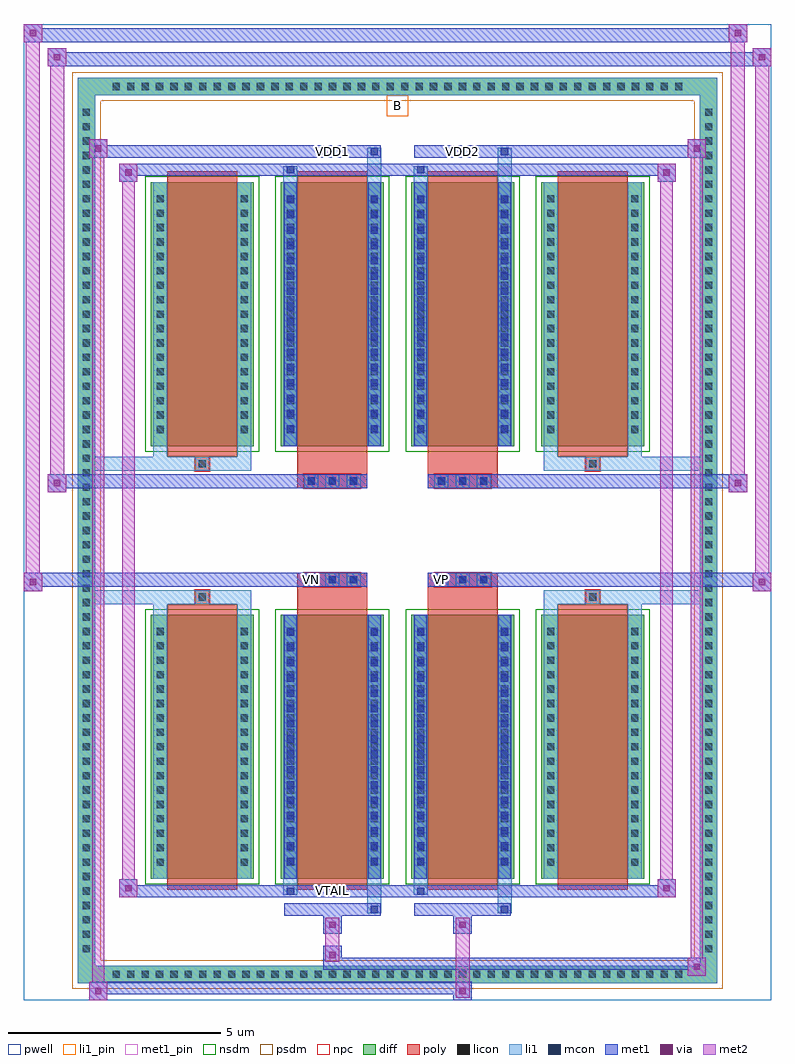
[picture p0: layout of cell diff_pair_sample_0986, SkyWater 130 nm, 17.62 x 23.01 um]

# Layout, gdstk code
import gdstk
lib = gdstk.Library(unit=1e-6, precision=5e-09)
def R(c, l, rs):  # rectangles x0, y0, x1, y1
    for r in rs: c.add(gdstk.rectangle(r[:2], r[2:], *l))
def A(c, l, x, y, w, h, nx, ny, dx, dy):  # array of equal rectangles
    R(c, l, [(x+i*dx, y+j*dy, x+i*dx+w, y+j*dy+h) for i in range(nx) for j in range(ny)])
def P(c, l, *ps):  # polygons
    for p in ps: c.add(gdstk.Polygon(p, *l))
pwell = (64, 44)
diff = (65, 20)
poly = (66, 20)
licon = (66, 44)
li1_pin = (67, 16)
li1 = (67, 20)
mcon = (67, 44)
met1_pin = (68, 16)
met1 = (68, 20)
via = (68, 44)
met2 = (69, 20)
nsdm = (93, 44)
psdm = (94, 20)
npc = (95, 20)

diff_pair_sample_0986 = lib.new_cell('diff_pair_sample_0986')
R(diff_pair_sample_0986, pwell, [(-8.81,-11.07,8.81,11.94), (-6.13,-9.26,-0.01,-0.8), (0.01,-9.26,6.13,-0.8), (-6.13,0.8,-0.01,9.26), (0.01,0.8,6.13,9.26)])
A(diff_pair_sample_0986, diff, -6.835, -10.67, 0.41, 0.41, 40, 2, 0.34, 20.93)
A(diff_pair_sample_0986, diff, -7.54, -10.065, 0.41, 0.41, 1, 59, 0, 0.34)
A(diff_pair_sample_0986, diff, 7.13, -10.065, 0.41, 0.41, 1, 59, 0, 0.34)
A(diff_pair_sample_0986, diff, -5.82, -8.215, 2.43, 6.23, 4, 2, 3.07, 10.2)
R(diff_pair_sample_0986, diff, [(-6.835,-10.67,6.835,-10.26), (-7.54,-10.065,-7.13,10.065), (7.13,-10.065,7.54,10.065), (-6.835,10.26,6.835,10.67)])
P(diff_pair_sample_0986, diff, [(7.54,10.67),(-7.54,10.67),(-7.54,-10.26),(-7.13,-10.26),(-7.13,10.26),(7.13,10.26),(7.13,-10.26),(-7.13,-10.26),(-7.54,-10.26),(-7.54,-10.67),(7.54,-10.67)])
A(diff_pair_sample_0986, poly, -5.43, -8.465, 1.65, 6.73, 4, 2, 3.07, 10.2)
A(diff_pair_sample_0986, poly, -2.2, -1.33, 0.33, 0.33, 3, 2, 0.5, 2.33)
A(diff_pair_sample_0986, poly, 0.87, -1.33, 0.33, 0.33, 3, 2, 0.5, 2.33)
R(diff_pair_sample_0986, poly, [(-4.77,-1.735,-4.44,-1.405), (-4.77,-1.735,-4.44,-1.405), (-2.36,-1.735,-0.71,-1.33), (0.71,-1.735,2.36,-1.33), (4.44,-1.735,4.77,-1.405), (4.44,-1.735,4.77,-1.405), (-2.36,-1.33,-0.71,-1), (0.71,-1.33,2.36,-1), (-2.36,1,-0.71,1.33), (0.71,1,2.36,1.33), (-2.36,1.33,-0.71,1.735), (0.71,1.33,2.36,1.735), (-4.77,1.405,-4.44,1.735), (-4.77,1.405,-4.44,1.735), (4.44,1.405,4.77,1.735), (4.44,1.405,4.77,1.735)])
A(diff_pair_sample_0986, licon, -6.715, -10.55, 0.17, 0.17, 40, 2, 0.34, 20.93)
A(diff_pair_sample_0986, licon, -7.42, -9.945, 0.17, 0.17, 1, 59, 0, 0.34)
A(diff_pair_sample_0986, licon, 7.25, -9.945, 0.17, 0.17, 1, 59, 0, 0.34)
A(diff_pair_sample_0986, licon, -5.68, -7.905, 0.17, 0.17, 1, 17, 0, 0.34)
A(diff_pair_sample_0986, licon, -3.7, -7.905, 0.17, 0.17, 1, 17, 0, 0.34)
A(diff_pair_sample_0986, licon, -2.61, -7.905, 0.17, 0.17, 1, 17, 0, 0.34)
A(diff_pair_sample_0986, licon, -0.63, -7.905, 0.17, 0.17, 1, 17, 0, 0.34)
A(diff_pair_sample_0986, licon, 0.46, -7.905, 0.17, 0.17, 1, 17, 0, 0.34)
A(diff_pair_sample_0986, licon, 2.44, -7.905, 0.17, 0.17, 1, 17, 0, 0.34)
A(diff_pair_sample_0986, licon, 3.53, -7.905, 0.17, 0.17, 1, 17, 0, 0.34)
A(diff_pair_sample_0986, licon, 5.51, -7.905, 0.17, 0.17, 1, 17, 0, 0.34)
A(diff_pair_sample_0986, licon, -2.12, -1.25, 0.17, 0.17, 3, 2, 0.5, 2.33)
A(diff_pair_sample_0986, licon, 0.95, -1.25, 0.17, 0.17, 3, 2, 0.5, 2.33)
A(diff_pair_sample_0986, licon, -5.68, 2.295, 0.17, 0.17, 1, 17, 0, 0.34)
A(diff_pair_sample_0986, licon, -3.7, 2.295, 0.17, 0.17, 1, 17, 0, 0.34)
A(diff_pair_sample_0986, licon, -2.61, 2.295, 0.17, 0.17, 1, 17, 0, 0.34)
A(diff_pair_sample_0986, licon, -0.63, 2.295, 0.17, 0.17, 1, 17, 0, 0.34)
A(diff_pair_sample_0986, licon, 0.46, 2.295, 0.17, 0.17, 1, 17, 0, 0.34)
A(diff_pair_sample_0986, licon, 2.44, 2.295, 0.17, 0.17, 1, 17, 0, 0.34)
A(diff_pair_sample_0986, licon, 3.53, 2.295, 0.17, 0.17, 1, 17, 0, 0.34)
A(diff_pair_sample_0986, licon, 5.51, 2.295, 0.17, 0.17, 1, 17, 0, 0.34)
R(diff_pair_sample_0986, licon, [(-4.69,-1.655,-4.52,-1.485), (4.52,-1.655,4.69,-1.485), (-4.69,1.485,-4.52,1.655), (4.52,1.485,4.69,1.655)])
R(diff_pair_sample_0986, li1_pin, [(-0.25,9.76,0.25,10.26)])
A(diff_pair_sample_0986, li1, -6.795, -10.63, 0.33, 0.33, 40, 2, 0.34, 20.93)
A(diff_pair_sample_0986, li1, -7.5, -10.025, 0.33, 0.33, 1, 59, 0, 0.34)
A(diff_pair_sample_0986, li1, 7.17, -10.025, 0.33, 0.33, 1, 59, 0, 0.34)
A(diff_pair_sample_0986, li1, -5.76, -7.985, 0.33, 0.33, 1, 17, 0, 0.34)
A(diff_pair_sample_0986, li1, -3.78, -7.985, 0.33, 0.33, 1, 17, 0, 0.34)
A(diff_pair_sample_0986, li1, -2.69, -7.985, 0.33, 0.33, 1, 17, 0, 0.34)
A(diff_pair_sample_0986, li1, -0.71, -7.985, 0.33, 0.33, 1, 17, 0, 0.34)
A(diff_pair_sample_0986, li1, 0.38, -7.985, 0.33, 0.33, 1, 17, 0, 0.34)
A(diff_pair_sample_0986, li1, 2.36, -7.985, 0.33, 0.33, 1, 17, 0, 0.34)
A(diff_pair_sample_0986, li1, 3.45, -7.985, 0.33, 0.33, 1, 17, 0, 0.34)
A(diff_pair_sample_0986, li1, 5.43, -7.985, 0.33, 0.33, 1, 17, 0, 0.34)
A(diff_pair_sample_0986, li1, -2.61, -7.885, 0.17, 0.17, 1, 16, 0, 0.36)
A(diff_pair_sample_0986, li1, -0.63, -7.885, 0.17, 0.17, 1, 16, 0, 0.36)
A(diff_pair_sample_0986, li1, 0.46, -7.885, 0.17, 0.17, 1, 16, 0, 0.36)
A(diff_pair_sample_0986, li1, 2.44, -7.885, 0.17, 0.17, 1, 16, 0, 0.36)
A(diff_pair_sample_0986, li1, -2.2, -1.33, 0.33, 0.33, 3, 2, 0.5, 2.33)
A(diff_pair_sample_0986, li1, 0.87, -1.33, 0.33, 0.33, 3, 2, 0.5, 2.33)
A(diff_pair_sample_0986, li1, -5.76, 2.215, 0.33, 0.33, 1, 17, 0, 0.34)
A(diff_pair_sample_0986, li1, -3.78, 2.215, 0.33, 0.33, 1, 17, 0, 0.34)
A(diff_pair_sample_0986, li1, -2.69, 2.215, 0.33, 0.33, 1, 17, 0, 0.34)
A(diff_pair_sample_0986, li1, -0.71, 2.215, 0.33, 0.33, 1, 17, 0, 0.34)
A(diff_pair_sample_0986, li1, 0.38, 2.215, 0.33, 0.33, 1, 17, 0, 0.34)
A(diff_pair_sample_0986, li1, 2.36, 2.215, 0.33, 0.33, 1, 17, 0, 0.34)
A(diff_pair_sample_0986, li1, 3.45, 2.215, 0.33, 0.33, 1, 17, 0, 0.34)
A(diff_pair_sample_0986, li1, 5.43, 2.215, 0.33, 0.33, 1, 17, 0, 0.34)
A(diff_pair_sample_0986, li1, -2.61, 2.315, 0.17, 0.17, 1, 16, 0, 0.36)
A(diff_pair_sample_0986, li1, -0.63, 2.315, 0.17, 0.17, 1, 16, 0, 0.36)
A(diff_pair_sample_0986, li1, 0.46, 2.315, 0.17, 0.17, 1, 16, 0, 0.36)
A(diff_pair_sample_0986, li1, 2.44, 2.315, 0.17, 0.17, 1, 16, 0, 0.36)
R(diff_pair_sample_0986, li1, [(-7.54,-10.67,-7.13,-10.26), (-7.54,-10.67,-7.13,-10.26), (-7.13,-10.67,7.13,-10.26), (7.13,-10.67,7.54,-10.26), (7.13,-10.67,7.54,-10.26), (-7.54,-10.26,-7.13,10.26), (7.13,-10.26,7.54,10.26), (-0.71,-9.02,-0.38,-8.215), (-0.63,-9.02,-0.46,-8.85), (2.36,-9.02,2.69,-8.215), (2.44,-9.02,2.61,-8.85), (-2.69,-8.59,-2.36,-8.215), (-2.61,-8.59,-2.44,-8.42), (0.38,-8.59,0.71,-8.215), (0.46,-8.59,0.63,-8.42), (-5.76,-8.215,-5.43,-1.985), (-3.78,-8.215,-3.45,-1.985), (-2.69,-8.215,-2.36,-1.985), (-0.71,-8.215,-0.38,-1.985), (0.38,-8.215,0.71,-1.985), (2.36,-8.215,2.69,-1.985), (3.45,-8.215,3.78,-1.985), (5.43,-8.215,5.76,-1.985), (-2.61,-7.885,-2.44,-2.315), (-0.63,-7.885,-0.46,-2.315), (0.46,-7.885,0.63,-2.315), (2.44,-7.885,2.61,-2.315), (-5.76,-1.985,-5.43,-1.405), (-3.78,-1.985,-3.45,-1.405), (3.45,-1.985,3.78,-1.405), (5.43,-1.985,5.76,-1.405), (-7.54,-1.735,-4.77,-1.405), (-5.76,-1.735,-4.77,-1.405), (-4.77,-1.735,-4.44,-1.405), (-4.44,-1.735,-3.45,-1.405), (3.45,-1.735,4.44,-1.405), (4.44,-1.735,4.77,-1.405), (4.44,-1.735,7.54,-1.405), (4.77,-1.735,5.76,-1.405), (-7.54,1.405,-4.77,1.735), (-5.76,1.405,-4.77,1.735), (-5.76,1.405,-5.43,1.985), (-4.77,1.405,-4.44,1.735), (-4.44,1.405,-3.45,1.735), (-3.78,1.405,-3.45,1.985), (3.45,1.405,4.44,1.735), (3.45,1.405,3.78,1.985), (4.44,1.405,4.77,1.735), (4.44,1.405,7.54,1.735), (4.77,1.405,5.76,1.735), (5.43,1.405,5.76,1.985), (-5.76,1.985,-5.43,8.215), (-3.78,1.985,-3.45,8.215), (-2.69,1.985,-2.36,8.215), (-0.71,1.985,-0.38,8.215), (0.38,1.985,0.71,8.215), (2.36,1.985,2.69,8.215), (3.45,1.985,3.78,8.215), (5.43,1.985,5.76,8.215), (-2.61,2.315,-2.44,7.885), (-0.63,2.315,-0.46,7.885), (0.46,2.315,0.63,7.885), (2.44,2.315,2.61,7.885), (-2.69,8.215,-2.36,8.59), (-0.71,8.215,-0.38,9.02), (0.38,8.215,0.71,8.59), (2.36,8.215,2.69,9.02), (-2.61,8.42,-2.44,8.59), (0.46,8.42,0.63,8.59), (-0.63,8.85,-0.46,9.02), (2.44,8.85,2.61,9.02), (-7.54,10.26,-7.13,10.67), (-7.54,10.26,-7.13,10.67), (-7.13,10.26,7.13,10.67), (7.13,10.26,7.54,10.67), (7.13,10.26,7.54,10.67)])
A(diff_pair_sample_0986, mcon, -2.61, -7.885, 0.17, 0.17, 1, 16, 0, 0.36)
A(diff_pair_sample_0986, mcon, -0.63, -7.885, 0.17, 0.17, 1, 16, 0, 0.36)
A(diff_pair_sample_0986, mcon, 0.46, -7.885, 0.17, 0.17, 1, 16, 0, 0.36)
A(diff_pair_sample_0986, mcon, 2.44, -7.885, 0.17, 0.17, 1, 16, 0, 0.36)
A(diff_pair_sample_0986, mcon, -2.12, -1.25, 0.17, 0.17, 3, 2, 0.5, 2.33)
A(diff_pair_sample_0986, mcon, 0.95, -1.25, 0.17, 0.17, 3, 2, 0.5, 2.33)
A(diff_pair_sample_0986, mcon, -2.61, 2.315, 0.17, 0.17, 1, 16, 0, 0.36)
A(diff_pair_sample_0986, mcon, -0.63, 2.315, 0.17, 0.17, 1, 16, 0, 0.36)
A(diff_pair_sample_0986, mcon, 0.46, 2.315, 0.17, 0.17, 1, 16, 0, 0.36)
A(diff_pair_sample_0986, mcon, 2.44, 2.315, 0.17, 0.17, 1, 16, 0, 0.36)
R(diff_pair_sample_0986, mcon, [(-0.63,-9.02,-0.46,-8.85), (2.44,-9.02,2.61,-8.85), (-2.61,-8.59,-2.44,-8.42), (0.46,-8.59,0.63,-8.42), (-2.61,8.42,-2.44,8.59), (0.46,8.42,0.63,8.59), (-0.63,8.85,-0.46,9.02), (2.44,8.85,2.61,9.02)])
R(diff_pair_sample_0986, met1_pin, [(-1.67,-8.63,-1.4,-8.36), (-2.17,-1.29,-1.9,-1.02), (0.9,-1.29,1.17,-1.02), (-1.67,8.81,-1.4,9.08), (1.4,8.81,1.67,9.08)])
A(diff_pair_sample_0986, met1, -2.67, -7.945, 0.29, 0.29, 1, 16, 0, 0.36)
A(diff_pair_sample_0986, met1, -0.69, -7.945, 0.29, 0.29, 1, 16, 0, 0.36)
A(diff_pair_sample_0986, met1, 0.4, -7.945, 0.29, 0.29, 1, 16, 0, 0.36)
A(diff_pair_sample_0986, met1, 2.38, -7.945, 0.29, 0.29, 1, 16, 0, 0.36)
A(diff_pair_sample_0986, met1, -2.18, -1.31, 0.29, 0.29, 3, 2, 0.5, 2.33)
A(diff_pair_sample_0986, met1, 0.89, -1.31, 0.29, 0.29, 3, 2, 0.5, 2.33)
A(diff_pair_sample_0986, met1, -2.67, 2.255, 0.29, 0.29, 1, 16, 0, 0.36)
A(diff_pair_sample_0986, met1, -0.69, 2.255, 0.29, 0.29, 1, 16, 0, 0.36)
A(diff_pair_sample_0986, met1, 0.4, 2.255, 0.29, 0.29, 1, 16, 0, 0.36)
A(diff_pair_sample_0986, met1, 2.38, 2.255, 0.29, 0.29, 1, 16, 0, 0.36)
R(diff_pair_sample_0986, met1, [(-7.27,-11.07,-6.84,-10.64), (1.32,-11.07,1.75,-10.64), (-7.27,-10.93,1.75,-10.64), (6.84,-10.5,7.27,-10.07), (-1.75,-10.36,7.27,-10.07), (-1.75,-10.22,-1.32,-9.79), (-1.75,-9.51,-1.32,-9.08), (1.32,-9.51,1.75,-9.08), (-2.67,-9.08,-0.4,-8.79), (-0.69,-9.08,-0.4,-8.79), (0.4,-9.08,2.67,-8.79), (2.38,-9.08,2.67,-8.79), (-6.56,-8.65,-6.13,-8.22), (-6.56,-8.65,-2.67,-8.36), (-2.67,-8.65,-2.38,-8.36), (-2.67,-8.65,-0.4,-8.36), (-0.4,-8.65,0.4,-8.36), (0.4,-8.65,0.69,-8.36), (0.4,-8.65,2.67,-8.36), (2.67,-8.65,6.56,-8.36), (6.13,-8.65,6.56,-8.22), (-2.67,-8.215,-2.38,-1.985), (-0.69,-8.215,-0.4,-1.985), (0.4,-8.215,0.69,-1.985), (2.38,-8.215,2.67,-1.985), (-8.81,-1.43,-8.38,-1), (8.38,-1.43,8.81,-1), (-8.81,-1.33,-0.71,-1), (-2.36,-1.33,-0.71,-1), (0.71,-1.33,2.36,-1), (0.71,-1.33,8.81,-1), (-8.24,0.9,-7.81,1.33), (7.81,0.9,8.24,1.33), (-8.24,1,-2.36,1.33), (-2.36,1,-0.71,1.33), (0.71,1,2.36,1.33), (2.36,1,8.24,1.33), (-2.67,1.985,-2.38,8.215), (-0.69,1.985,-0.4,8.215), (0.4,1.985,0.69,8.215), (2.38,1.985,2.67,8.215), (-6.56,8.22,-6.13,8.65), (6.13,8.22,6.56,8.65), (-6.56,8.36,-2.67,8.65), (-2.67,8.36,-2.38,8.65), (-2.67,8.36,-0.4,8.65), (-0.4,8.36,0.4,8.65), (0.4,8.36,0.69,8.65), (0.4,8.36,2.67,8.65), (2.67,8.36,6.56,8.65), (-7.27,8.79,-6.84,9.22), (-7.27,8.79,-2.67,9.08), (-2.67,8.79,-0.4,9.08), (-0.69,8.79,-0.4,9.08), (0.4,8.79,2.67,9.08), (2.38,8.79,2.67,9.08), (2.67,8.79,7.27,9.08), (6.84,8.79,7.27,9.22), (-8.24,10.94,-7.81,11.37), (-8.24,10.94,-6.13,11.27), (-6.13,10.94,6.13,11.27), (6.13,10.94,8.81,11.27), (8.38,10.94,8.81,11.37), (-8.81,11.51,-8.38,11.94), (-8.81,11.51,-6.13,11.84), (-6.13,11.51,6.13,11.84), (6.13,11.51,8.24,11.84), (7.81,11.51,8.24,11.94)])
R(diff_pair_sample_0986, via, [(-7.13,-10.93,-6.98,-10.78), (1.46,-10.93,1.61,-10.78), (6.98,-10.36,7.13,-10.21), (-1.61,-10.08,-1.46,-9.93), (-1.61,-9.37,-1.46,-9.22), (1.46,-9.37,1.61,-9.22), (-6.42,-8.51,-6.27,-8.36), (6.27,-8.51,6.42,-8.36), (-8.67,-1.29,-8.52,-1.14), (8.52,-1.29,8.67,-1.14), (-8.1,1.04,-7.95,1.19), (7.95,1.04,8.1,1.19), (-6.42,8.36,-6.27,8.51), (6.27,8.36,6.42,8.51), (-7.13,8.93,-6.98,9.08), (6.98,8.93,7.13,9.08), (-8.1,11.08,-7.95,11.23), (8.52,11.08,8.67,11.23), (-8.67,11.65,-8.52,11.8), (7.95,11.65,8.1,11.8)])
R(diff_pair_sample_0986, met2, [(-7.27,-11.07,-6.84,-10.64), (-7.2,-11.07,-6.91,9.22), (-6.91,-11.07,-6.84,-10.64), (-7.22,-11.02,-6.89,-10.69), (1.37,-11.02,1.7,-10.69), (1.37,-10.69,1.7,-9.46), (6.84,-10.5,7.27,-10.07), (6.91,-10.5,7.2,9.22), (7.2,-10.5,7.27,-10.07), (6.89,-10.45,7.22,-10.12), (-1.7,-10.17,-1.37,-9.84), (-1.7,-9.84,-1.37,-9.46), (-1.7,-9.46,-1.37,-9.13), (1.37,-9.46,1.7,-9.13), (-6.56,-8.65,-6.13,-8.22), (-6.49,-8.65,-6.2,8.65), (-6.2,-8.65,-6.13,-8.22), (6.13,-8.65,6.56,-8.22), (6.2,-8.65,6.49,8.65), (6.49,-8.65,6.56,-8.22), (-6.51,-8.6,-6.18,-8.27), (6.18,-8.6,6.51,-8.27), (-8.81,-1.43,-8.38,-1), (-8.76,-1.43,-8.43,11.94), (-8.43,-1.43,-8.38,-1), (8.38,-1.43,8.81,-1), (8.43,-1.43,8.76,11.37), (8.76,-1.43,8.81,-1), (-8.76,-1.38,-8.43,-1.05), (8.43,-1.38,8.76,-1.05), (-8.24,0.9,-7.81,1.33), (-8.19,0.9,-7.86,11.37), (-7.86,0.9,-7.81,1.33), (7.81,0.9,8.24,1.33), (7.86,0.9,8.19,11.94), (8.19,0.9,8.24,1.33), (-8.19,0.95,-7.86,1.28), (7.86,0.95,8.19,1.28), (-6.56,8.22,-6.13,8.65), (-6.2,8.22,-6.13,8.65), (6.13,8.22,6.56,8.65), (6.49,8.22,6.56,8.65), (-6.51,8.27,-6.18,8.6), (6.18,8.27,6.51,8.6), (-7.27,8.79,-6.84,9.22), (-6.91,8.79,-6.84,9.22), (6.84,8.79,7.27,9.22), (7.2,8.79,7.27,9.22), (-7.22,8.84,-6.89,9.17), (6.89,8.84,7.22,9.17), (-8.24,10.94,-7.81,11.37), (-7.86,10.94,-7.81,11.37), (8.38,10.94,8.81,11.37), (8.76,10.94,8.81,11.37), (-8.19,10.99,-7.86,11.32), (8.43,10.99,8.76,11.32), (-8.81,11.51,-8.38,11.94), (-8.43,11.51,-8.38,11.94), (7.81,11.51,8.24,11.94), (8.19,11.51,8.24,11.94), (-8.76,11.56,-8.43,11.89), (7.86,11.56,8.19,11.89)])
A(diff_pair_sample_0986, nsdm, -5.95, -8.345, 2.69, 6.49, 4, 2, 3.07, 10.2)
P(diff_pair_sample_0986, psdm, [(7.67,10.8),(-7.67,10.8),(-7.67,-10.13),(-7,-10.13),(-7,10.13),(7,10.13),(7,-10.13),(-7,-10.13),(-7.67,-10.13),(-7.67,-10.8),(7.67,-10.8)])
A(diff_pair_sample_0986, npc, -2.22, -1.35, 0.37, 0.37, 3, 2, 0.5, 2.33)
A(diff_pair_sample_0986, npc, 0.85, -1.35, 0.37, 0.37, 3, 2, 0.5, 2.33)
R(diff_pair_sample_0986, npc, [(-4.79,-1.755,-4.42,-1.385), (4.42,-1.755,4.79,-1.385), (-2.22,-1.35,-1.35,-0.98), (-2.22,-1.35,-1.35,-0.98), (-1.72,-1.35,-0.85,-0.98), (-1.72,-1.35,-0.85,-0.98), (0.85,-1.35,1.72,-0.98), (0.85,-1.35,1.72,-0.98), (1.35,-1.35,2.22,-0.98), (1.35,-1.35,2.22,-0.98), (-2.22,0.98,-1.35,1.35), (-2.22,0.98,-1.35,1.35), (-1.72,0.98,-0.85,1.35), (-1.72,0.98,-0.85,1.35), (0.85,0.98,1.72,1.35), (0.85,0.98,1.72,1.35), (1.35,0.98,2.22,1.35), (1.35,0.98,2.22,1.35), (-4.79,1.385,-4.42,1.755), (4.42,1.385,4.79,1.755)])
diff_pair_sample_0986.add(gdstk.Label('VTAIL', (-1.535,-8.495), layer=68, texttype=5))
diff_pair_sample_0986.add(gdstk.Label('VN', (-2.035,-1.155), layer=68, texttype=5))
diff_pair_sample_0986.add(gdstk.Label('VP', (1.035,-1.155), layer=68, texttype=5))
diff_pair_sample_0986.add(gdstk.Label('B', (0,10.01), layer=67, texttype=5))
diff_pair_sample_0986.add(gdstk.Label('VDD2', (1.535,8.945), layer=68, texttype=5))
diff_pair_sample_0986.add(gdstk.Label('VDD1', (-1.535,8.945), layer=68, texttype=5))

lib.write_gds('diff_pair_sample_0986.gds')
